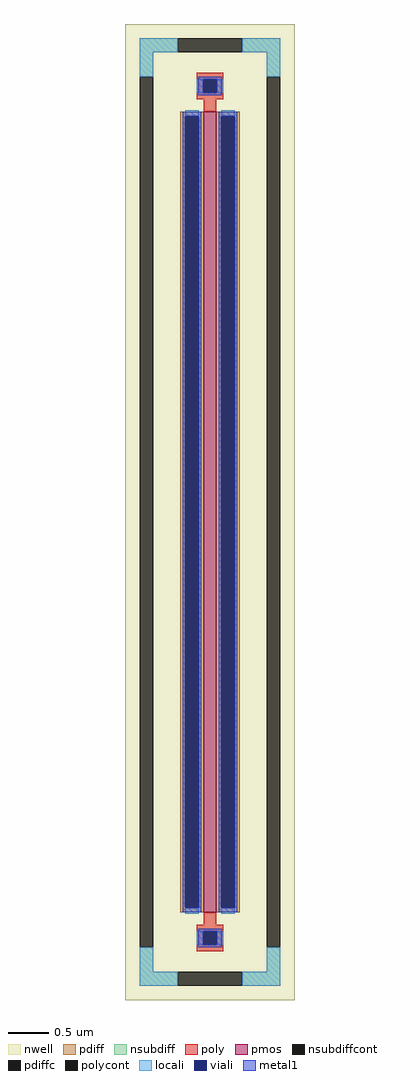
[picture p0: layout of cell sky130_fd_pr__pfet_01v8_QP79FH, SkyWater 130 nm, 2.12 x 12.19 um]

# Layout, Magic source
magic
tech sky130A
magscale 1 2
<< nwell >>
rect -212 -1219 212 1219
<< pmos >>
rect -16 -1000 16 1000
<< pdiff >>
rect -74 988 -16 1000
rect -74 -988 -62 988
rect -28 -988 -16 988
rect -74 -1000 -16 -988
rect 16 988 74 1000
rect 16 -988 28 988
rect 62 -988 74 988
rect 16 -1000 74 -988
<< pdiffc >>
rect -62 -988 -28 988
rect 28 -988 62 988
<< nsubdiff >>
rect -176 1149 -80 1183
rect 80 1149 176 1183
rect -176 1087 -142 1149
rect 142 1087 176 1149
rect -176 -1149 -142 -1087
rect 142 -1149 176 -1087
rect -176 -1183 -80 -1149
rect 80 -1183 176 -1149
<< nsubdiffcont >>
rect -80 1149 80 1183
rect -176 -1087 -142 1087
rect 142 -1087 176 1087
rect -80 -1183 80 -1149
<< poly >>
rect -33 1081 33 1097
rect -33 1047 -17 1081
rect 17 1047 33 1081
rect -33 1031 33 1047
rect -16 1000 16 1031
rect -16 -1031 16 -1000
rect -33 -1047 33 -1031
rect -33 -1081 -17 -1047
rect 17 -1081 33 -1047
rect -33 -1097 33 -1081
<< polycont >>
rect -17 1047 17 1081
rect -17 -1081 17 -1047
<< locali >>
rect -176 1149 -80 1183
rect 80 1149 176 1183
rect -176 1087 -142 1149
rect 142 1087 176 1149
rect -33 1047 -17 1081
rect 17 1047 33 1081
rect -62 988 -28 1004
rect -62 -1004 -28 -988
rect 28 988 62 1004
rect 28 -1004 62 -988
rect -33 -1081 -17 -1047
rect 17 -1081 33 -1047
rect -176 -1149 -142 -1087
rect 142 -1149 176 -1087
rect -176 -1183 -80 -1149
rect 80 -1183 176 -1149
<< viali >>
rect -17 1047 17 1081
rect -62 -988 -28 988
rect 28 -988 62 988
rect -17 -1081 17 -1047
<< metal1 >>
rect -29 1081 29 1087
rect -29 1047 -17 1081
rect 17 1047 29 1081
rect -29 1041 29 1047
rect -68 988 -22 1000
rect -68 -988 -62 988
rect -28 -988 -22 988
rect -68 -1000 -22 -988
rect 22 988 68 1000
rect 22 -988 28 988
rect 62 -988 68 988
rect 22 -1000 68 -988
rect -29 -1047 29 -1041
rect -29 -1081 -17 -1047
rect 17 -1081 29 -1047
rect -29 -1087 29 -1081
<< properties >>
string FIXED_BBOX -159 -1166 159 1166
string gencell sky130_fd_pr__pfet_01v8
string library sky130
string parameters w 10.0 l 0.155 m 1 nf 1 diffcov 100 polycov 100 guard 1 glc 1 grc 1 gtc 1 gbc 1 tbcov 100 rlcov 100 topc 1 botc 1 poverlap 0 doverlap 1 lmin 0.15 wmin 0.42 compatible {sky130_fd_pr__pfet_01v8  sky130_fd_pr__pfet_01v8_lvt sky130_fd_pr__pfet_01v8_hvt  sky130_fd_pr__pfet_g5v0d10v5} full_metal 1 viasrc 100 viadrn 100 viagate 100 viagb 0 viagr 0 viagl 0 viagt 0
<< end >>
